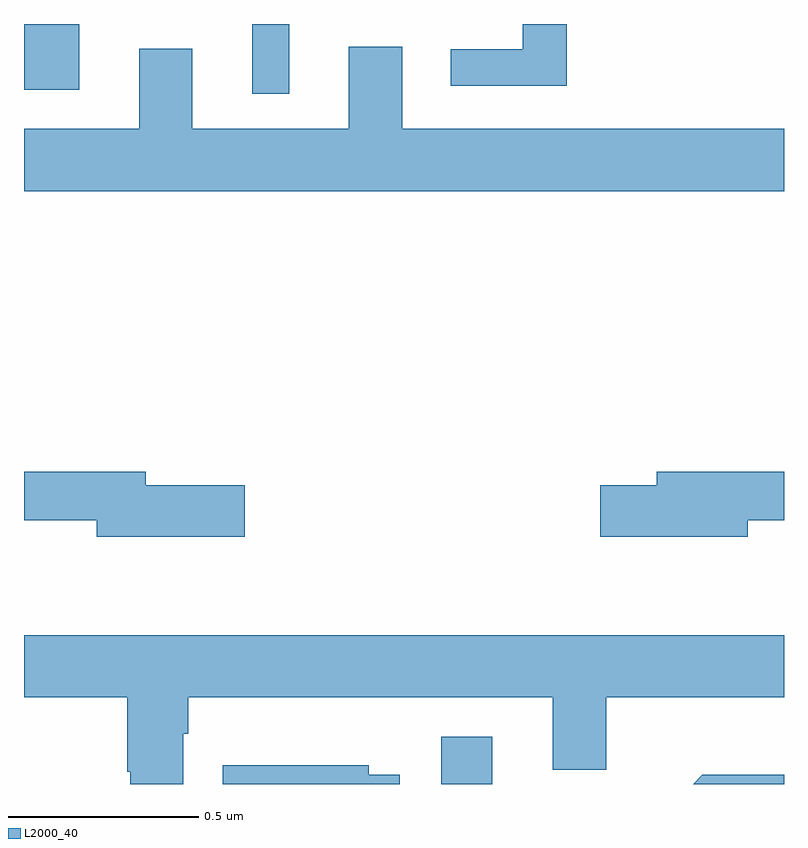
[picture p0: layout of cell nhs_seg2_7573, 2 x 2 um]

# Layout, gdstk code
import gdstk
lib = gdstk.Library(unit=1e-6, precision=1e-09)
def R(c, l, rs):  # rectangles x0, y0, x1, y1
    for r in rs: c.add(gdstk.rectangle(r[:2], r[2:], *l))
def P(c, l, *ps):  # polygons
    for p in ps: c.add(gdstk.Polygon(p, *l))
L2000_40 = (2000, 40)

nhs_seg2_7573 = lib.new_cell('nhs_seg2_7573')
R(nhs_seg2_7573, L2000_40, [(207.098,588.8,207.232,588.925), (206.6,590.616,206.698,590.8), (206,590.627,206.146,590.8)])
P(nhs_seg2_7573, L2000_40, [(207.428,590.8),(207.312,590.8),(207.312,590.733),(207.123,590.733),(207.123,590.637),(207.428,590.637)],
  [(208,590.524),(206.995,590.524),(206.995,590.74),(206.855,590.74),(206.855,590.524),(206.443,590.524),(206.443,590.735),(206.303,590.735),(206.303,590.524),(206,590.524),(206,590.36),(208,590.36)],
  [(207.904,589.494),(208,589.494),(208,589.622),(207.665,589.622),(207.665,589.586),(207.516,589.586),(207.516,589.451),(207.904,589.451)],
  [(206.581,589.586),(206.32,589.586),(206.32,589.622),(206,589.622),(206,589.494),(206.192,589.494),(206.192,589.451),(206.581,589.451)],
  [(206.419,588.932),(206.432,588.932),(206.432,589.028),(207.392,589.028),(207.392,588.838),(207.532,588.838),(207.532,589.028),(208,589.028),(208,589.192),(206,589.192),(206,589.028),(206.272,589.028),(206.272,588.832),(206.279,588.832),(206.279,588.8),(206.419,588.8)],
  [(206.989,588.824),(206.907,588.824),(206.907,588.85),(206.523,588.85),(206.523,588.8),(206.989,588.8)],
  [(208,588.824),(207.785,588.824),(207.761,588.8),(208,588.8)])

lib.write_gds('nhs_seg2_7573.gds')
